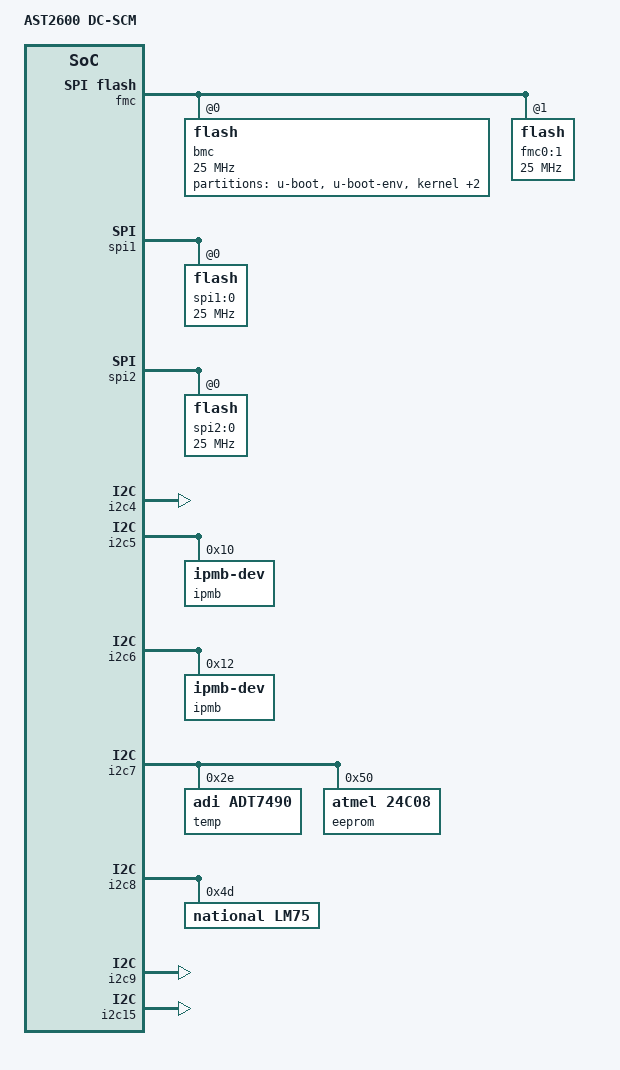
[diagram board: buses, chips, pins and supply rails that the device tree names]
// SPDX-License-Identifier: GPL-2.0-or-later
// Copyright 2019 IBM Corp.

/dts-v1/;

#include "aspeed-ast2600-evb.dts"

/ {
	model = "AST2600 DC-SCM";
};

&fmc {
	fmc-spi-user-mode;
	pinctrl-names = "default";
	pinctrl-0 = <&pinctrl_fwqspi_default>;
	timing-calibration-disabled;
	status = "okay";

	flash@0 {
		status = "okay";
		m25p,fast-read;
		label = "bmc";
		spi-max-frequency = <25000000>;
		spi-tx-bus-width = <1>;
		spi-rx-bus-width = <1>;
		partitions {
			compatible = "fixed-partitions";
			#address-cells = <1>;
			#size-cells = <1>;

			u-boot@0 {
				reg = <0x0 0xe0000>;
				label = "u-boot";
			};

			u-boot-env@e0000 {
				reg = <0xe0000 0x20000>; // 128KB
				label = "u-boot-env";
			};

			kernel@100000 {
				reg = <0x100000 0x900000>; // 9MB
				label = "kernel";
			};

			rofs@a00000 {
				reg = <0xa00000 0x2400000>; // 36MB
				label = "rofs";
			};

			rwfs@2e00000 {
				reg = <0x2e00000 0x1000000>; // 16MB
				label = "rwfs";
			};

		};
	};

	flash@1 {
		status = "okay";
		m25p,fast-read;
		label = "fmc0:1";
		spi-max-frequency = <25000000>;
		spi-tx-bus-width = <1>;
		spi-rx-bus-width = <1>;
	};

	flash@2 {
		status = "disabled";
		m25p,fast-read;
		label = "fmc0:2";
		spi-max-frequency = <25000000>;
		spi-tx-bus-width = <1>;
		spi-rx-bus-width = <1>;
	};
};

&spi1 {
	fmc-spi-user-mode;
	pinctrl-names = "default";
	pinctrl-0 = <&pinctrl_spi1_default &pinctrl_spi1cs1_default
				&pinctrl_qspi1_default>;
	timing-calibration-disabled;
	status = "okay";

	flash@0 {
		status = "okay";
		m25p,fast-read;
		label = "spi1:0";
		spi-max-frequency = <25000000>;
		spi-tx-bus-width = <1>;
		spi-rx-bus-width = <1>;
	};

	flash@1 {
		status = "disabled";
		m25p,fast-read;
		label = "spi1:1";
		spi-max-frequency = <25000000>;
		spi-tx-bus-width = <1>;
		spi-rx-bus-width = <1>;
	};
};

&spi2 {
	fmc-spi-user-mode;
	pinctrl-names = "default";
	pinctrl-0 = <&pinctrl_spi2_default &pinctrl_spi2cs1_default
				&pinctrl_spi2cs2_default &pinctrl_qspi2_default>;
	timing-calibration-disabled;
	status = "okay";

	flash@0 {
		status = "okay";
		m25p,fast-read;
		label = "spi2:0";
		spi-max-frequency = <25000000>;
		spi-tx-bus-width = <1>;
		spi-rx-bus-width = <1>;
	};

	flash@1 {
		status = "disabled";
		m25p,fast-read;
		label = "spi2:1";
		spi-max-frequency = <25000000>;
		spi-tx-bus-width = <1>;
		spi-rx-bus-width = <1>;
	};

	flash@2 {
		status = "disabled";
		m25p,fast-read;
		label = "spi2:2";
		spi-max-frequency = <25000000>;
		spi-tx-bus-width = <1>;
		spi-rx-bus-width = <1>;
	};

};

&i2c4 {
	status = "okay";
};

&i2c5 {
	status = "okay";

	ipmb@10 {
		compatible = "ipmb-dev";
		reg = <0x10>;
		i2c-protocol;
	};
};

&i2c6 {
	status = "okay";

	ipmb@12 {
		compatible = "ipmb-dev";
		reg = <0x12>;
		i2c-protocol;
	};
};

&i2c7 {
	status = "okay";

	temp@2e {
		compatible = "adi,adt7490";
		reg = <0x2e>;
	};

	eeprom@50 {
		compatible = "atmel,24c08";
		reg = <0x50>;
		pagesize = <16>;
	};

};

&i2c8 {
	status = "okay";

	lm75@4d {
		compatible = "national,lm75";
		reg = <0x4d>;
	};

};

&i2c9 {
	status = "okay";
};

&i2c15 {
	status = "okay";
};

#if 0
&ehci0 {
	status = "disabled";
};
#endif

&ehci1 {
	status = "disabled";
};

&uhci {
	status = "disabled";
};

&vhub {
	status = "disabled";
	pinctrl-names = "default";
#if 0
	pinctrl-0 = <&pinctrl_usb2adp_default>;
#endif
};

#if 0
&udc {
	status = "disabled";
	pinctrl-names = "default";
	pinctrl-0 = <&pinctrl_usb2bd_default>;
};
#endif

&uphyb {
	status = "disabled";
};

&sdc {
	status = "disabled";
};

&sdhci0 {
	status = "disabled";
};

&sdhci1 {
	status = "disabled";
};
